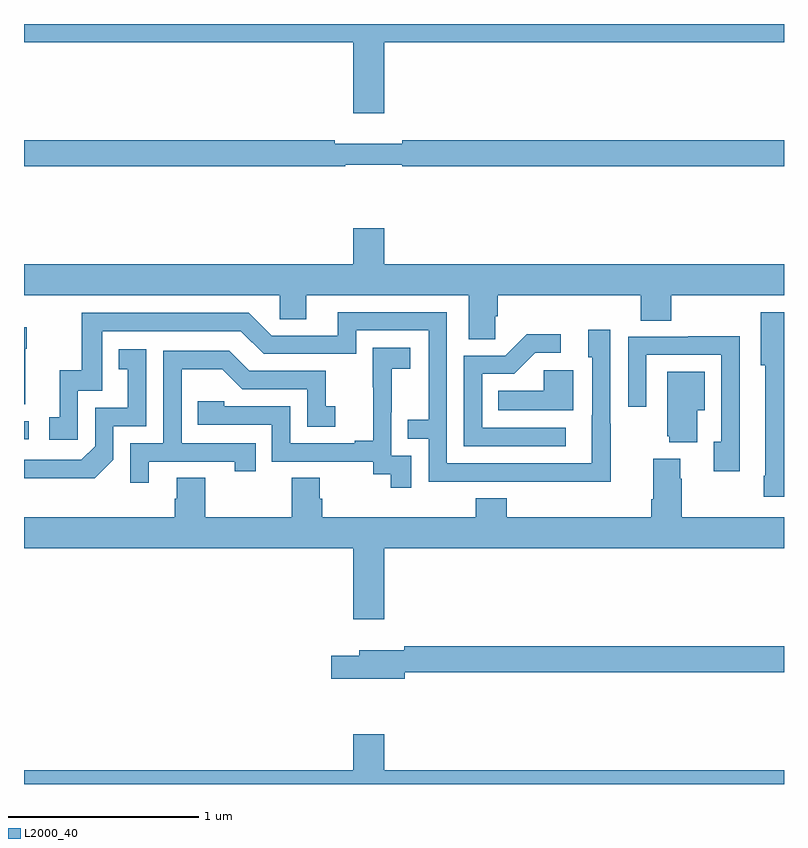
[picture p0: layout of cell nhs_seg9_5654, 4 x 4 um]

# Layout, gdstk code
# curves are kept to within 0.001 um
import gdstk
lib = gdstk.Library(unit=1e-6, precision=1e-09)
def R(c, l, rs):  # rectangles x0, y0, x1, y1
    for r in rs: c.add(gdstk.rectangle(r[:2], r[2:], *l))
def P(c, l, *ps):  # polygons
    for p in ps: c.add(gdstk.Polygon(p, *l))
L2000_40 = (2000, 40)

nhs_seg9_5654 = lib.new_cell('nhs_seg9_5654')
R(nhs_seg9_5654, L2000_40, [(439,1210.314,439.024,1210.41)])
P(nhs_seg9_5654, L2000_40, [(440.896,1212.404),(443,1212.404),(443,1212.5),(439,1212.5),(439,1212.404),(440.732,1212.404),(440.732,1212.03),(440.896,1212.03)],
  [(440.692,1211.76),(440.992,1211.76),(440.992,1211.752),(443,1211.752),(443,1211.888),(440.992,1211.888),(440.992,1211.869),(440.636,1211.869),(440.636,1211.888),(439,1211.888),(439,1211.752),(440.692,1211.752)],
  [(441.48,1210.963),(441.494,1210.963),(441.494,1211.072),(442.247,1211.072),(442.247,1210.939),(442.407,1210.939),(442.407,1211.072),(443,1211.072),(443,1211.236),(440.896,1211.236),(440.896,1211.425),(440.732,1211.425),(440.732,1211.236),(439,1211.236),(439,1211.072),(440.346,1211.072),(440.346,1210.945),(440.485,1210.945),(440.485,1211.072),(441.341,1211.072),(441.341,1210.84),(441.48,1210.84)],
  [(443,1210.984),(442.877,1210.984),(442.877,1210.704),(442.901,1210.704),(442.901,1210.123),(442.894,1210.123),(442.894,1210.011),(443,1210.011)],
  [(442.089,1210.397),(442.086,1210.397),(442.086,1210.891),(441.971,1210.891),(441.971,1210.746),(441.99,1210.746),(441.989,1210.188),(441.225,1210.188),(441.225,1210.983),(440.651,1210.983),(440.651,1210.86),(440.304,1210.86),(440.184,1210.98),(439.305,1210.98),(439.305,1210.678),(439.187,1210.678),(439.187,1210.431),(439.134,1210.431),(439.134,1210.311),(439.284,1210.311),(439.284,1210.569),(439.413,1210.569),(439.413,1210.884),(440.142,1210.884),(440.262,1210.764),(440.748,1210.764),(440.748,1210.887),(441.129,1210.887),(441.129,1210.418),(441.019,1210.418),(441.019,1210.317),(441.129,1210.317),(441.129,1210.092),(442.089,1210.091)],
  [(439.006,1210.79),(439.014,1210.79),(439.014,1210.903),(439,1210.903),(439,1210.499),(439.006,1210.499)],
  [(441.85,1210.374),(441.411,1210.374),(441.411,1210.659),(441.58,1210.659),(441.691,1210.77),(441.826,1210.77),(441.826,1210.868),(441.647,1210.868),(441.534,1210.755),(441.315,1210.755),(441.315,1210.278),(441.85,1210.278)],
  [(442.768,1210.604),(442.767,1210.604),(442.767,1210.856),(442.495,1210.856),(442.495,1210.854),(442.179,1210.854),(442.179,1210.485),(442.275,1210.485),(442.275,1210.758),(442.671,1210.758),(442.671,1210.302),(442.631,1210.302),(442.631,1210.146),(442.768,1210.146)],
  [(441.039,1210.227),(440.934,1210.227),(440.934,1210.457),(440.936,1210.457),(440.936,1210.685),(441.034,1210.685),(441.034,1210.795),(440.836,1210.795),(440.836,1210.589),(440.837,1210.589),(440.837,1210.306),(440.741,1210.306),(440.741,1210.293),(440.4,1210.293),(440.4,1210.488),(440.055,1210.488),(440.055,1210.515),(439.915,1210.515),(439.915,1210.392),(440.304,1210.392),(440.304,1210.197),(440.838,1210.197),(440.838,1210.129),(440.931,1210.129),(440.931,1210.059),(441.039,1210.059)],
  [(439.47,1210.206),(439.47,1210.383),(439.644,1210.383),(439.644,1210.789),(439.498,1210.789),(439.498,1210.683),(439.547,1210.683),(439.547,1210.479),(439.374,1210.479),(439.374,1210.278),(439.302,1210.206),(439,1210.206),(439,1210.109),(439.372,1210.109)],
  [(439.657,1210.197),(440.108,1210.197),(440.108,1210.146),(440.219,1210.146),(440.219,1210.293),(439.83,1210.293),(439.83,1210.682),(440.044,1210.682),(440.148,1210.578),(440.49,1210.578),(440.49,1210.38),(440.638,1210.38),(440.638,1210.489),(440.589,1210.489),(440.589,1210.674),(440.185,1210.674),(440.08,1210.779),(439.734,1210.779),(439.734,1210.293),(439.56,1210.293),(439.56,1210.086),(439.657,1210.086)],
  [(441.892,1210.678),(441.735,1210.678),(441.735,1210.57),(441.496,1210.57),(441.496,1210.466),(441.892,1210.466)],
  [(442.543,1210.466),(442.582,1210.466),(442.582,1210.669),(442.385,1210.669),(442.385,1210.329),(442.397,1210.329),(442.397,1210.298),(442.543,1210.298)],
  [(440.557,1210.002),(440.557,1210.112),(440.41,1210.112),(440.41,1209.904),(439.953,1209.904),(439.953,1210.112),(439.805,1210.112),(439.805,1210.002),(439.793,1210.002),(439.793,1209.904),(439,1209.904),(439,1209.74),(440.732,1209.74),(440.732,1209.366),(440.896,1209.366),(440.896,1209.74),(443,1209.74),(443,1209.904),(442.461,1209.904),(442.461,1210.106),(442.453,1210.106),(442.453,1210.213),(442.313,1210.213),(442.313,1210),(442.301,1210),(442.301,1209.904),(441.542,1209.904),(441.542,1210.003),(441.377,1210.003),(441.377,1209.904),(440.57,1209.904),(440.57,1210.002)],
  [(441.004,1209.088),(443,1209.088),(443,1209.224),(441,1209.224),(441,1209.205),(440.765,1209.205),(440.765,1209.175),(440.616,1209.175),(440.616,1209.053),(441.004,1209.053)],
  [(443,1208.572),(440.896,1208.572),(440.896,1208.761),(440.732,1208.761),(440.732,1208.572),(439,1208.572),(439,1208.5),(443,1208.5)])

lib.write_gds('nhs_seg9_5654.gds')
